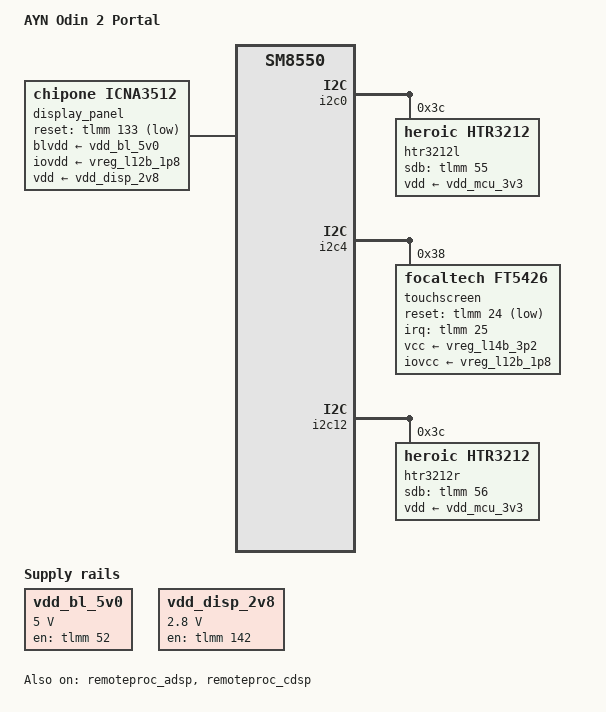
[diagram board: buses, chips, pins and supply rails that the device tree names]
// SPDX-License-Identifier: BSD-3-Clause
/*
 * Copyright (c) 2025, Teguh Sobirin.
 */

/dts-v1/;

#include "qcs8550-ayn-common.dtsi"

/ {
	model = "AYN Odin 2 Portal";
	compatible = "ayn,odin2portal", "qcom,qcs8550", "qcom,sm8550";
	qcom,msm-id = <603 0x20000>;
	qcom,board-id = <0x1001f 0>;

	vdd_bl_5v0: vdd-bl-5v0-regulator {
		compatible = "regulator-fixed";
		regulator-name = "vdd_bl_5v0";

		regulator-min-microvolt = <5000000>;
		regulator-max-microvolt = <5000000>;

		gpio = <&tlmm 52 GPIO_ACTIVE_HIGH>;
		enable-active-high;
	};

	vdd_disp_2v8: vdd-disp-2v8-regulator {
		compatible = "regulator-fixed";
		regulator-name = "vdd_disp_2v8";

		regulator-min-microvolt = <2800000>;
		regulator-max-microvolt = <2800000>;

		gpio = <&tlmm 142 GPIO_ACTIVE_HIGH>;
		enable-active-high;
	};
};

&display_panel {
	compatible = "chipone,icna3512";

	blvdd-supply = <&vdd_bl_5v0>;
	iovdd-supply = <&vreg_l12b_1p8>;
	vdd-supply = <&vdd_disp_2v8>;

	reset-gpios = <&tlmm 133 GPIO_ACTIVE_LOW>;

	rotation = <270>;
};

&gpu {
	zap-shader {
		firmware-name = "qcom/sm8550/ayn/odin2portal/a740_zap.mbn";
	};
};

&i2c0 {
	htr3212l: led-controller@3c {
		compatible = "heroic,htr3212";
		reg = <0x3c>;
		#address-cells = <1>;
		#size-cells = <0>;
		sdb-gpios = <&tlmm 55 GPIO_ACTIVE_HIGH>;
		vdd-supply = <&vdd_mcu_3v3>;

		ledl_b1: led@1 {
			reg = <1>;
			label = "l:r1";
			color = <LED_COLOR_ID_RED>;
		};
		ledl_g1: led@2 {
			reg = <2>;
			label = "l:g1";
			color = <LED_COLOR_ID_GREEN>;
		};
		ledl_r1: led@3 {
			reg = <3>;
			label = "l:b1";
			color = <LED_COLOR_ID_BLUE>;
		};
		ledl_b2: led@4 {
			reg = <4>;
			label = "l:r2";
			color = <LED_COLOR_ID_RED>;
		};
		ledl_g2: led@5 {
			reg = <5>;
			label = "l:g2";
			color = <LED_COLOR_ID_GREEN>;
		};
		ledl_r2: led@6 {
			reg = <6>;
			label = "l:b2";
			color = <LED_COLOR_ID_BLUE>;
		};
		ledl_b3: led@7 {
			reg = <7>;
			label = "l:r3";
			color = <LED_COLOR_ID_RED>;
		};
		ledl_g3: led@8 {
			reg = <8>;
			label = "l:g3";
			color = <LED_COLOR_ID_GREEN>;
		};
		ledl_r3: led@9 {
			reg = <9>;
			label = "l:b3";
			color = <LED_COLOR_ID_BLUE>;
		};
		ledl_b4: led@10 {
			reg = <10>;
			label = "l:r4";
			color = <LED_COLOR_ID_RED>;
		};
		ledl_g4: led@11 {
			reg = <11>;
			label = "l:g4";
			color = <LED_COLOR_ID_GREEN>;
		};
		ledl_r4: led@12 {
			reg = <12>;
			label = "l:b4";
			color = <LED_COLOR_ID_BLUE>;
		};
	};
};

&i2c4 {
	touchscreen: touchscreen@38 {
		compatible = "focaltech,ft5426";
		reg = <0x38>;
		#address-cells = <1>;
		#size-cells = <0>;

		interrupt-parent = <&tlmm>;
		interrupts = <25 IRQ_TYPE_EDGE_FALLING>;

		reset-gpios = <&tlmm 24 GPIO_ACTIVE_LOW>;

		vcc-supply = <&vreg_l14b_3p2>;
		iovcc-supply = <&vreg_l12b_1p8>;

		pinctrl-0 = <&ts_int_default &ts_rst_default>;
		pinctrl-1 = <&ts_int_sleep &ts_rst_sleep>;
		pinctrl-names = "default", "sleep";

		touchscreen-size-x = <1080>;
		touchscreen-size-y = <1920>;
	};
};

&i2c12 {
	htr3212r: led-controller@3c {
		compatible = "heroic,htr3212";
		reg = <0x3c>;
		#address-cells = <1>;
		#size-cells = <0>;
		sdb-gpios = <&tlmm 56 GPIO_ACTIVE_HIGH>;
		vdd-supply = <&vdd_mcu_3v3>;

		ledr_b1: led@1 {
			reg = <1>;
			label = "r:r1";
			color = <LED_COLOR_ID_RED>;
		};
		ledr_g1: led@2 {
			reg = <2>;
			label = "r:g1";
			color = <LED_COLOR_ID_GREEN>;
		};
		ledr_r1: led@3 {
			reg = <3>;
			label = "r:b1";
			color = <LED_COLOR_ID_BLUE>;
		};
		ledr_b2: led@4 {
			reg = <4>;
			label = "r:r2";
			color = <LED_COLOR_ID_RED>;
		};
		ledr_g2: led@5 {
			reg = <5>;
			label = "r:g2";
			color = <LED_COLOR_ID_GREEN>;
		};
		ledr_r2: led@6 {
			reg = <6>;
			label = "r:b2";
			color = <LED_COLOR_ID_BLUE>;
		};
		ledr_b3: led@7 {
			reg = <7>;
			label = "r:r3";
			color = <LED_COLOR_ID_RED>;
		};
		ledr_g3: led@8 {
			reg = <8>;
			label = "r:g3";
			color = <LED_COLOR_ID_GREEN>;
		};
		ledr_r3: led@9 {
			reg = <9>;
			label = "r:b3";
			color = <LED_COLOR_ID_BLUE>;
		};
		ledr_b4: led@10 {
			reg = <10>;
			label = "r:r4";
			color = <LED_COLOR_ID_RED>;
		};
		ledr_g4: led@11 {
			reg = <11>;
			label = "r:g4";
			color = <LED_COLOR_ID_GREEN>;
		};
		ledr_r4: led@12 {
			reg = <12>;
			label = "r:b4";
			color = <LED_COLOR_ID_BLUE>;
		};
	};
};

&remoteproc_adsp {
	firmware-name = "qcom/sm8550/ayn/odin2portal/adsp.mbn",
			"qcom/sm8550/ayn/odin2portal/adsp_dtb.mbn";
	status = "okay";
};

&remoteproc_cdsp {
	firmware-name = "qcom/sm8550/ayn/odin2portal/cdsp.mbn",
			"qcom/sm8550/ayn/odin2portal/cdsp_dtb.mbn";
	status = "okay";
};

&spk_amp_l {
	firmware-name = "qcom/sm8550/ayn/odin2portal/aw883xx_acf.bin";
};

&spk_amp_r {
	firmware-name = "qcom/sm8550/ayn/odin2portal/aw883xx_acf.bin";
};
